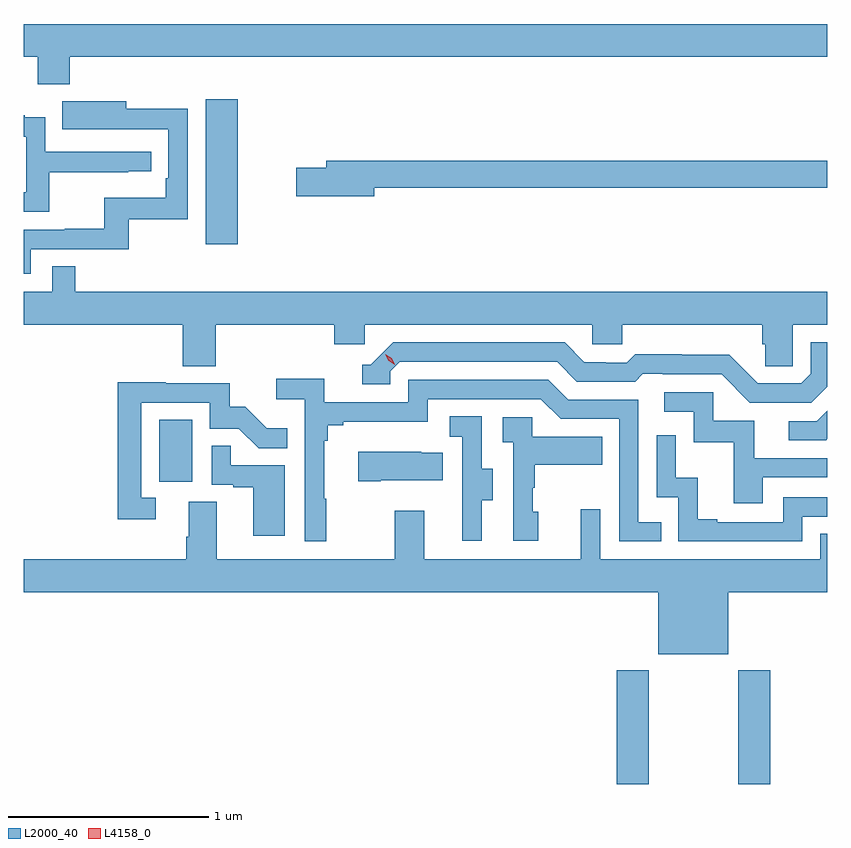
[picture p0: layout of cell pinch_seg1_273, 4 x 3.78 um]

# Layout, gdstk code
import gdstk
lib = gdstk.Library(unit=1e-6, precision=1e-09)
def R(c, l, rs):  # rectangles x0, y0, x1, y1
    for r in rs: c.add(gdstk.rectangle(r[:2], r[2:], *l))
def P(c, l, *ps):  # polygons
    for p in ps: c.add(gdstk.Polygon(p, *l))
L2000_40 = (2000, 40)
L4158_0 = (4158, 0)

pinch_seg1_273 = lib.new_cell('pinch_seg1_273')
R(pinch_seg1_273, L2000_40, [(906.191,541.453,906.351,542.02), (906.796,541.453,906.956,542.02), (903.914,542.958,904.078,543.265), (904.145,544.14,904.306,544.861)])
P(pinch_seg1_273, L2000_40, [(903.47,545.072),(907.24,545.072),(907.24,545.236),(903.24,545.236),(903.24,545.072),(903.31,545.072),(903.31,544.937),(903.47,544.937)],
  [(903.276,544.116),(903.763,544.116),(903.763,544.263),(904.056,544.263),(904.056,544.814),(903.751,544.814),(903.751,544.852),(903.433,544.852),(903.433,544.712),(903.647,544.712),(903.647,544.713),(903.96,544.713),(903.96,544.468),(903.947,544.468),(903.947,544.372),(903.642,544.372),(903.642,544.217),(903.445,544.217),(903.445,544.212),(903.24,544.212),(903.24,543.993),(903.276,543.993)],
  [(903.368,544.498),(903.761,544.498),(903.761,544.503),(903.874,544.503),(903.874,544.599),(903.348,544.599),(903.348,544.771),(903.245,544.771),(903.245,544.783),(903.24,544.783),(903.24,544.674),(903.252,544.674),(903.252,544.398),(903.24,544.398),(903.24,544.302),(903.368,544.302)],
  [(904.984,544.42),(907.24,544.42),(907.24,544.556),(904.745,544.556),(904.745,544.52),(904.596,544.52),(904.596,544.378),(904.984,544.378)],
  [(904.196,543.74),(904.787,543.74),(904.787,543.642),(904.938,543.642),(904.938,543.74),(906.069,543.74),(906.069,543.642),(906.219,543.642),(906.219,543.74),(906.917,543.74),(906.917,543.642),(906.931,543.642),(906.931,543.532),(907.068,543.532),(907.068,543.74),(907.24,543.74),(907.24,543.904),(903.497,543.904),(903.497,544.031),(903.381,544.031),(903.381,543.904),(903.24,543.904),(903.24,543.74),(904.031,543.74),(904.031,543.532),(904.196,543.532)],
  [(907.24,543.43),(907.24,543.651),(907.158,543.651),(907.158,543.495),(907.11,543.447),(906.894,543.447),(906.752,543.589),(906.516,543.589),(906.516,543.592),(906.283,543.592),(906.241,543.549),(906.138,543.549),(906.138,543.552),(906.031,543.552),(905.932,543.651),(905.079,543.651),(904.968,543.54),(904.925,543.54),(904.925,543.444),(905.064,543.444),(905.064,543.507),(905.112,543.555),(905.895,543.555),(905.994,543.456),(906.283,543.456),(906.322,543.495),(906.421,543.495),(906.421,543.492),(906.714,543.492),(906.855,543.351),(907.161,543.351)],
  [(904.747,542.873),(904.735,542.873),(904.735,543.161),(904.754,543.161),(904.754,543.238),(904.831,543.238),(904.831,543.257),(905.25,543.257),(905.25,543.369),(905.814,543.369),(905.913,543.27),(906.204,543.27),(906.204,542.661),(906.413,542.661),(906.413,542.757),(906.3,542.757),(906.3,543.366),(905.95,543.366),(905.851,543.465),(905.154,543.465),(905.154,543.354),(904.736,543.354),(904.736,543.47),(904.497,543.47),(904.497,543.368),(904.638,543.368),(904.638,542.661),(904.747,542.661)],
  [(903.898,542.877),(903.825,542.877),(903.825,543.351),(904.167,543.351),(904.167,543.222),(904.311,543.222),(904.409,543.124),(904.553,543.124),(904.553,543.223),(904.449,543.223),(904.342,543.33),(904.266,543.33),(904.266,543.447),(903.947,543.447),(903.947,543.452),(903.709,543.452),(903.709,542.772),(903.898,542.772)],
  [(906.919,542.979),(907.24,542.979),(907.24,543.075),(906.877,543.075),(906.877,543.261),(906.672,543.261),(906.672,543.402),(906.429,543.402),(906.429,543.306),(906.576,543.306),(906.576,543.153),(906.775,543.153),(906.775,542.85),(906.919,542.85)],
  [(907.24,543.171),(907.24,543.31),(907.188,543.258),(907.047,543.258),(907.047,543.165),(907.234,543.165)],
  [(905.521,542.866),(905.575,542.866),(905.575,543.021),(905.52,543.021),(905.52,543.284),(905.361,543.284),(905.361,543.181),(905.424,543.181),(905.424,542.877),(905.423,542.877),(905.423,542.664),(905.521,542.664)],
  [(905.8,542.808),(905.775,542.808),(905.775,542.927),(905.785,542.927),(905.785,543.041),(906.119,543.041),(906.119,543.181),(905.772,543.181),(905.772,543.279),(905.625,543.279),(905.625,543.155),(905.676,543.155),(905.676,542.664),(905.8,542.664)],
  [(907.116,542.784),(907.24,542.784),(907.24,542.88),(907.02,542.88),(907.02,542.757),(906.691,542.757),(906.691,542.77),(906.596,542.77),(906.596,542.978),(906.486,542.978),(906.486,543.19),(906.39,543.19),(906.39,542.88),(906.498,542.88),(906.498,542.661),(907.116,542.661)],
  [(904.54,543.039),(904.271,543.039),(904.271,543.137),(904.176,543.137),(904.176,542.943),(904.283,542.943),(904.283,542.931),(904.382,542.931),(904.382,542.688),(904.54,542.688)],
  [(905.017,542.966),(905.327,542.966),(905.327,543.103),(905.219,543.103),(905.219,543.106),(904.905,543.106),(904.905,542.959),(905.017,542.959)],
  [(906.748,542.408),(907.24,542.408),(907.24,542.699),(907.206,542.699),(907.206,542.572),(906.111,542.572),(906.111,542.821),(906.014,542.821),(906.014,542.572),(905.233,542.572),(905.233,542.812),(905.086,542.812),(905.086,542.572),(904.201,542.572),(904.201,542.858),(904.061,542.858),(904.061,542.684),(904.049,542.684),(904.049,542.572),(903.24,542.572),(903.24,542.408),(906.398,542.408),(906.398,542.099),(906.748,542.099)])
P(pinch_seg1_273, L4158_0, [(905.086,543.539),(905.056,543.559),(905.04,543.592),(905.04,543.593),(905.04,543.593),(905.071,543.572),(905.087,543.54),(905.087,543.539)])

lib.write_gds('pinch_seg1_273.gds')
